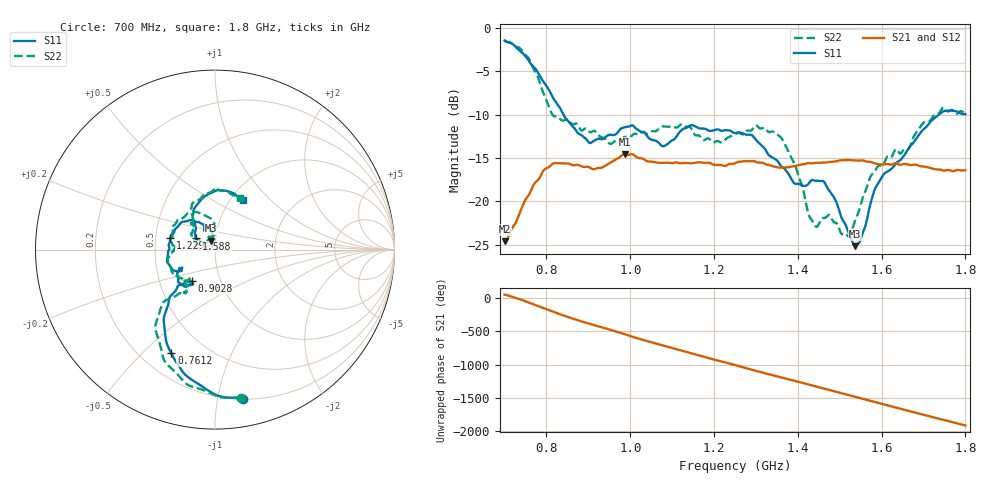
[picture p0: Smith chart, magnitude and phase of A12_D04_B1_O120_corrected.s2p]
! Created with skrf 1.9.0 (http://scikit-rf.org).
# Hz S RI R 50.0
!freq ReS11 ImS11 ReS21 ImS21 ReS12 ImS12 ReS22 ImS22
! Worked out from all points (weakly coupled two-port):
!   1601 points, 700 MHz to 1.8 GHz, reference 50 ohm
!   highest |S21| = -14.57 dB at 986.7 MHz (marker M1); lowest = -24.6 dB at 700.7 MHz (marker M2)
!   lowest |S11| = -25.2 dB at 1.537 GHz (marker M3), VSWR 1.12, Z = 47.5 + j4.77 ohm
!   |S11| at or under -10 dB: 840.4 MHz to 1.737 GHz (896.4 MHz wide, 69.6 % of centre)
!   |S22| runs from -24.1 to -1.5 dB; largest |S21 - S12| = 0.0034
!   S11 on the Smith chart (normalised r, x): 700 MHz: 0.20, -1.19; 761.2 MHz: 0.32, -0.62; 902.8 MHz: 0.73, -0.27; 1.229 GHz: 0.60, +0.09; 1.588 GHz: 0.80, +0.10; 1.8 GHz: 1.13, +0.70
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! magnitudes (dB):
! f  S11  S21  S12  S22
! 700 MHz  -1.4  -24.6  -24.4  -1.5
! 700.7 MHz  -1.5  -24.6  -24.3  -1.5
! 761.2 MHz  -4.1  -19.0  -18.9  -3.9
! 814.1 MHz  -7.9  -15.7  -15.7  -10.0
! 883.6 MHz  -12.4  -16.0  -15.9  -11.8
! 902.8 MHz  -13.3  -16.1  -16.1  -12.0
! 986.7 MHz  -11.5  -14.6  -14.7  -12.6
! 1.067 GHz  -13.2  -15.6  -15.5  -11.7
! 1.145 GHz  -11.2  -15.6  -15.6  -11.6
! 1.229 GHz  -11.8  -15.9  -15.8  -12.8
! 1.25 GHz  -12.1  -15.6  -15.5  -12.3
! 1.301 GHz  -13.0  -15.5  -15.4  -11.3
! 1.359 GHz  -15.9  -16.1  -16.1  -12.6
! 1.394 GHz  -18.0  -15.9  -15.9  -15.9
! 1.434 GHz  -17.6  -15.6  -15.6  -22.2
! 1.465 GHz  -18.0  -15.5  -15.5  -21.9
! 1.52 GHz  -23.4  -15.2  -15.2  -24.0
! 1.537 GHz  -25.2  -15.3  -15.3  -22.2
! 1.588 GHz  -18.2  -15.7  -15.7  -16.2
! 1.617 GHz  -16.5  -15.7  -15.7  -14.9
! 1.741 GHz  -9.9  -16.4  -16.4  -9.6
! 1.8 GHz  -9.9  -16.4  -16.4  -9.9
